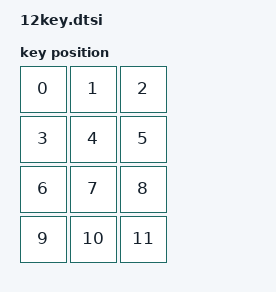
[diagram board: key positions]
#include <layouts/demomacropad/position_map.dtsi>
#include <physical_layouts.dtsi>

/ {
	layout_numpad_12_key: layout_numpad_12_key {
		compatible = "zmk,physical-layout";
		display-name = "12 Key Numpad";
		transform = <&default_transform>;
		kscan = <&kscan0>;
		keys  //                w   h    x    y     rot    rx    ry
		= <&key_physical_attrs 100 100    0    0       0     0     0>
		, <&key_physical_attrs 100 100  100    0       0     0     0>
		, <&key_physical_attrs 100 100  200    0       0     0     0>
		, <&key_physical_attrs 100 100    0  100       0     0     0>
		, <&key_physical_attrs 100 100  100  100       0     0     0>
		, <&key_physical_attrs 100 100  200  100       0     0     0>
		, <&key_physical_attrs 100 100    0  200       0     0     0>
		, <&key_physical_attrs 100 100  100  200       0     0     0>
		, <&key_physical_attrs 100 100  200  200       0     0     0>
		, <&key_physical_attrs 100 100    0  300       0     0     0>
		, <&key_physical_attrs 100 100  100  300       0     0     0>
		, <&key_physical_attrs 100 100  200  300       0     0     0>;
	};
};

&layouts_numpad_12_key_map {
	layout_numpad_12_posmap: layout_numpad_12_key {
		physical-layout = <&layout_numpad_12_key>;
		positions
		= < 0   1   2  >,
		  < 3   4   5  >,
		  < 6   7   8  >,
		  < 9   10  11 >;
	};
};
